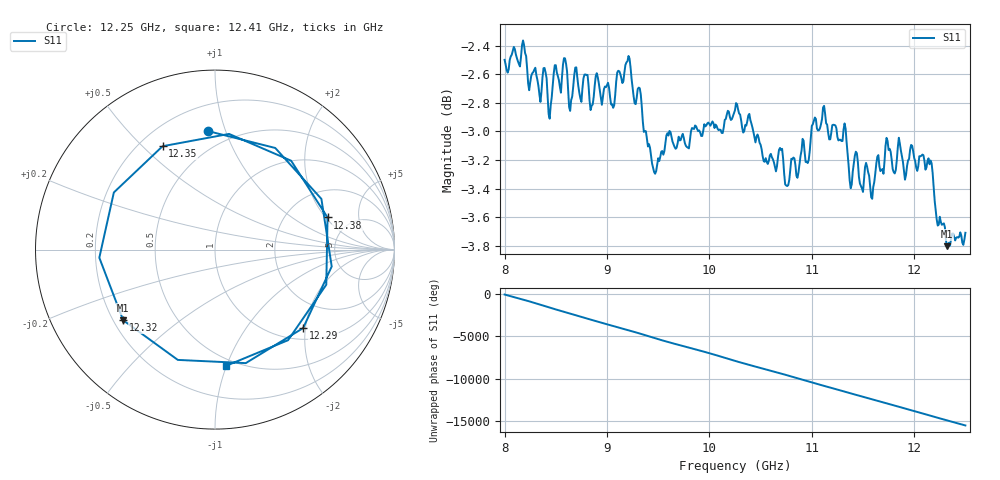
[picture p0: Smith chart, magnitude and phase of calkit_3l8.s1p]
#  HZ  S  RI  R  50.00
! Rohde & Schwarz Vector Network Analyzer
! Rohde-Schwarz,ZNA43-4Port,1332450044101932,2.92
! Created: UTC 6/9/2026, 6:25:28 AM
! freq[Hz]  re:S11  im:S11
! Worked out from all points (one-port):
!   451 points, 8 GHz to 12.5 GHz, reference 50 ohm
!   lowest |S11| = -3.8 dB at 12.32 GHz (marker M1), VSWR 4.64, Z = 12 - j16.1 ohm
!   |S11| at or under -10 dB: nowhere
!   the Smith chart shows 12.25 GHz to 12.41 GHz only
!   S11 on the Smith chart (normalised r, x): 12.25 GHz: 0.37, +0.87; 12.29 GHz: 1.26, -1.94; 12.32 GHz: 0.24, -0.32; 12.35 GHz: 0.29, +0.58; 12.38 GHz: 3.36, +2.09; 12.41 GHz: 0.45, -1.00
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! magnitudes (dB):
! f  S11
! 8 GHz  -2.5
! 8.19 GHz  -2.4
! 8.44 GHz  -2.9
! 8.57 GHz  -2.5
! 8.85 GHz  -2.8
! 9.13 GHz  -2.6
! 9.21 GHz  -2.5
! 9.46 GHz  -3.3
! 9.69 GHz  -3.1
! 10.25 GHz  -2.9
! 10.55 GHz  -3.2
! 10.7 GHz  -3.1
! 10.76 GHz  -3.4
! 10.82 GHz  -3.2
! 11.12 GHz  -2.8
! 11.32 GHz  -2.9
! 11.38 GHz  -3.4
! 11.59 GHz  -3.5
! 11.74 GHz  -3.1
! 11.94 GHz  -3.2
! 12.15 GHz  -3.2
! 12.25 GHz  -3.6
! 12.29 GHz  -3.6
! 12.32 GHz  -3.8
! 12.35 GHz  -3.8
! 12.38 GHz  -3.7
! 12.41 GHz  -3.7
! 12.5 GHz  -3.7
